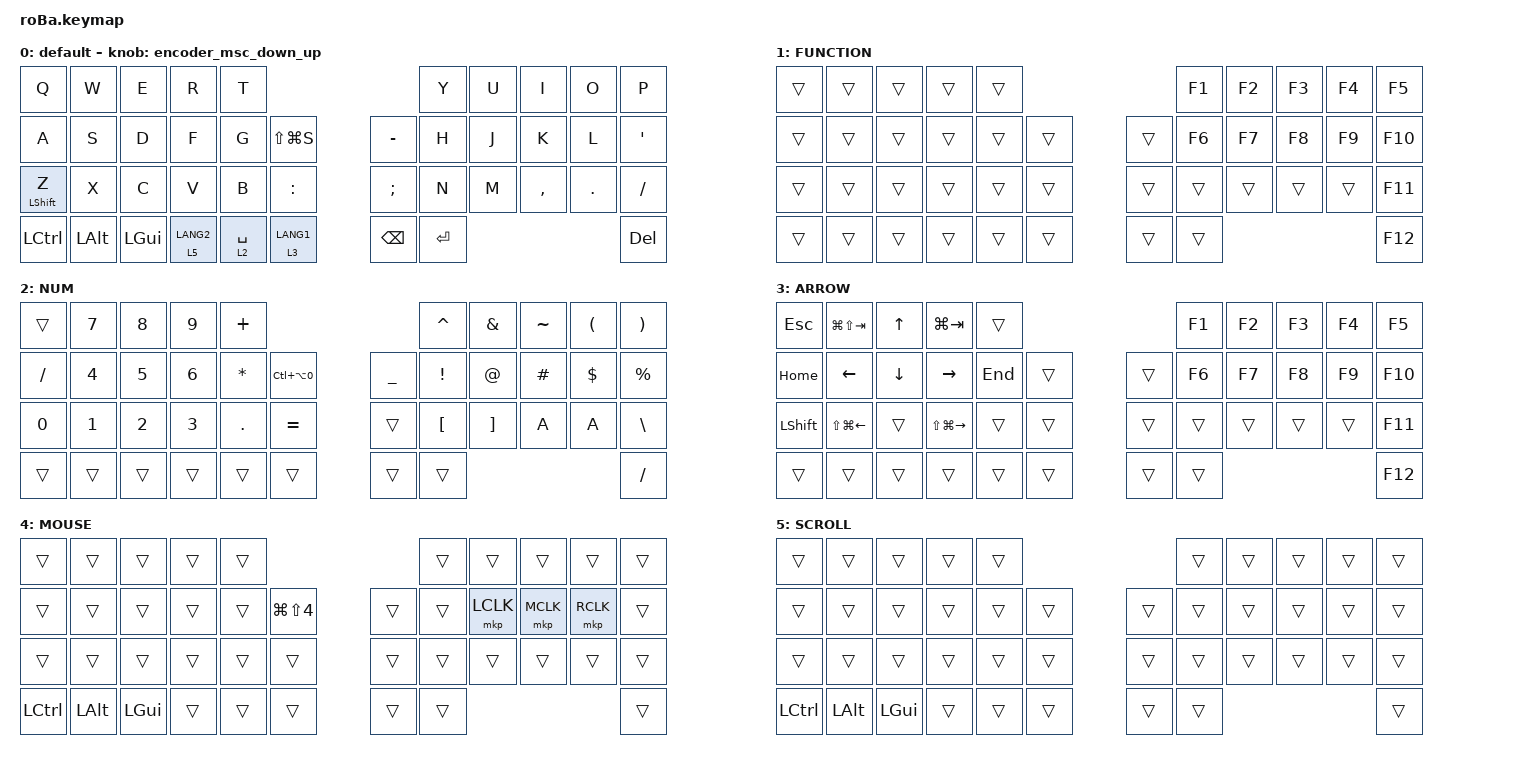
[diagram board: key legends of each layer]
#include <behaviors.dtsi>
#include <dt-bindings/zmk/keys.h>
#include <dt-bindings/zmk/pointing.h>

#define ZMK_POINTING_DEFAULT_SCRL_VAL 80

&mt {
    flavor = "balanced";
    quick-tap-ms = <0>;
};

&trackball {
    automouse-layer = <4>;
    scroll-layers = <5>;

    // arrows {
    //     layers = <3>;
    //     bindings =
    //         <&kp RIGHT_ARROW>,
    //         <&kp LEFT_ARROW>,
    //         <&kp UP_ARROW>,
    //         <&kp DOWN_ARROW>;
    //     tick = <10>;
    //     wait-ms = <5>;
    //     tap-ms = <5>;
    // };
};

/ {
    combos {
        compatible = "zmk,combos";

        tab {
            bindings = <&kp TAB>;
            key-positions = <11 12>;
        };

        double_quotation {
            bindings = <&kp DOUBLE_QUOTES>;
            key-positions = <20 21>;
        };

        MUHENKAN {
            bindings = <&to_layer_0 INT_MUHENKAN>;
            key-positions = <10 11>;
        };

        eq {
            bindings = <&kp EQUAL>;
            key-positions = <24 25>;
        };
    };

    macros {
        to_layer_0: to_layer_0 {
            compatible = "zmk,behavior-macro-one-param";
            #binding-cells = <1>;
            bindings = <&to 0 &macro_param_1to1 &kp MACRO_PLACEHOLDER>;
            label = "TO_LAYER_0";
        };
    };

    behaviors {
        lt_to_layer_0: lt_to_layer_0 {
            compatible = "zmk,behavior-hold-tap";
            label = "LAYER_TAP_TO_0";
            bindings = <&mo>, <&to_layer_0>;

            #binding-cells = <2>;
            tapping-term-ms = <200>;
        };

        encoder_msc_down_up: encoder_msc_down_up {
            compatible = "zmk,behavior-sensor-rotate";
            label = "ENCODER_MSC_DOWN_UP";
            #sensor-binding-cells = <0>;
            bindings = <&msc SCRL_UP>, <&msc SCRL_DOWN>;

            tap-ms = <20>;
        };
    };

    keymap {
        compatible = "zmk,keymap";

        default {
            bindings = <
&kp Q             &kp W         &kp E     &kp R                   &kp T                                                              &kp Y      &kp U  &kp I      &kp O    &kp P
&kp A             &kp S         &kp D     &kp F                   &kp G                   &kp LS(LG(S))               &kp MINUS      &kp H      &kp J  &kp K      &kp L    &kp SQT
&mt LEFT_SHIFT Z  &kp X         &kp C     &kp V                   &kp B                   &kp COLON                   &kp SEMI       &kp N      &kp M  &kp COMMA  &kp DOT  &kp SLASH
&kp LCTRL         &kp LEFT_ALT  &kp LGUI  &lt_to_layer_0 5 LANG2  &lt_to_layer_0 2 SPACE  &lt_to_layer_0 3 LANG1      &kp BACKSPACE  &kp ENTER                             &kp DELETE
            >;

            sensor-bindings = <&encoder_msc_down_up>;
        };

        FUNCTION {
            bindings = <
&trans  &trans  &trans  &trans  &trans                      &kp F1  &kp F2  &kp F3  &kp F4  &kp F5
&trans  &trans  &trans  &trans  &trans  &trans      &trans  &kp F6  &kp F7  &kp F8  &kp F9  &kp F10
&trans  &trans  &trans  &trans  &trans  &trans      &trans  &trans  &trans  &trans  &trans  &kp F11
&trans  &trans  &trans  &trans  &trans  &trans      &trans  &trans                          &kp F12
            >;
        };

        NUM {
            bindings = <
&trans     &kp N7  &kp N8  &kp N9  &kp PLUS                                          &kp CARET        &kp AMPERSAND  &kp TILDE  &kp LEFT_PARENTHESIS  &kp RIGHT_PARENTHESIS
&kp SLASH  &kp N4  &kp N5  &kp N6  &kp ASTERISK  &kp LC(LA(N0))      &kp UNDERSCORE  &kp EXCLAMATION  &kp AT_SIGN    &kp HASH   &kp DOLLAR            &kp PERCENT
&kp N0     &kp N1  &kp N2  &kp N3  &kp DOT       &kp EQUAL           &trans          &kp LBKT         &kp RBKT       &kp A      &kp A                 &kp BSLH
&trans     &trans  &trans  &trans  &trans        &trans              &trans          &trans                                                           &kp FSLH
            >;
        };

        ARROW {
            bindings = <
&kp ESC    &kp LG(LS(TAB))   &kp UP_ARROW  &kp LG(TAB)        &trans                       &kp F1  &kp F2  &kp F3  &kp F4  &kp F5
&kp HOME   &kp LEFT          &kp DOWN      &kp RIGHT          &kp END  &trans      &trans  &kp F6  &kp F7  &kp F8  &kp F9  &kp F10
&kp LSHFT  &kp LS(LG(LEFT))  &trans        &kp LS(LG(RIGHT))  &trans   &trans      &trans  &trans  &trans  &trans  &trans  &kp F11
&trans     &trans            &trans        &trans             &trans   &trans      &trans  &trans                          &kp F12
            >;
        };

        MOUSE {
            bindings = <
&trans     &trans        &trans        &trans  &trans                                    &trans  &trans     &trans     &trans     &trans
&trans     &trans        &trans        &trans  &trans  &kp LG(LS(NUMBER_4))      &trans  &trans  &mkp LCLK  &mkp MCLK  &mkp RCLK  &trans
&trans     &trans        &trans        &trans  &trans  &trans                    &trans  &trans  &trans     &trans     &trans     &trans
&kp LCTRL  &kp LEFT_ALT  &kp LEFT_GUI  &trans  &trans  &trans                    &trans  &trans                                   &trans
            >;
        };

        SCROLL {
            bindings = <
&trans     &trans        &trans        &trans  &trans                      &trans  &trans  &trans  &trans  &trans
&trans     &trans        &trans        &trans  &trans  &trans      &trans  &trans  &trans  &trans  &trans  &trans
&trans     &trans        &trans        &trans  &trans  &trans      &trans  &trans  &trans  &trans  &trans  &trans
&kp LCTRL  &kp LEFT_ALT  &kp LEFT_GUI  &trans  &trans  &trans      &trans  &trans                          &trans
            >;
        };
    };
};
